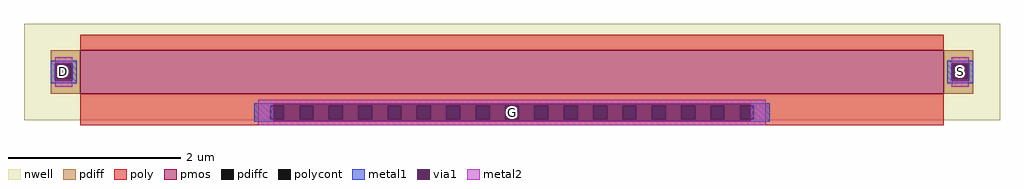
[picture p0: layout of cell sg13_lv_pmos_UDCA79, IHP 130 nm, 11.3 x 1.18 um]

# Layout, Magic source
magic
tech ihp-sg13g2
magscale 1 2
<< nwell >>
rect -1130 -93 1130 131
<< pmos >>
rect -1000 -31 1000 69
<< pdiff >>
rect -1068 35 -1000 69
rect -1068 3 -1054 35
rect -1022 3 -1000 35
rect -1068 -31 -1000 3
rect 1000 35 1068 69
rect 1000 3 1022 35
rect 1054 3 1068 35
rect 1000 -31 1068 3
<< pdiffc >>
rect -1054 3 -1022 35
rect 1022 3 1054 35
<< poly >>
rect -1000 69 1000 105
rect -1000 -59 1000 -31
rect -1000 -91 -560 -59
rect -528 -91 -492 -59
rect -460 -91 -424 -59
rect -392 -91 -356 -59
rect -324 -91 -288 -59
rect -256 -91 -220 -59
rect -188 -91 -152 -59
rect -120 -91 -84 -59
rect -52 -91 -16 -59
rect 16 -91 52 -59
rect 84 -91 120 -59
rect 152 -91 188 -59
rect 220 -91 256 -59
rect 288 -91 324 -59
rect 356 -91 392 -59
rect 424 -91 460 -59
rect 492 -91 528 -59
rect 560 -91 1000 -59
rect -1000 -105 1000 -91
<< polycont >>
rect -560 -91 -528 -59
rect -492 -91 -460 -59
rect -424 -91 -392 -59
rect -356 -91 -324 -59
rect -288 -91 -256 -59
rect -220 -91 -188 -59
rect -152 -91 -120 -59
rect -84 -91 -52 -59
rect -16 -91 16 -59
rect 52 -91 84 -59
rect 120 -91 152 -59
rect 188 -91 220 -59
rect 256 -91 288 -59
rect 324 -91 356 -59
rect 392 -91 424 -59
rect 460 -91 492 -59
rect 528 -91 560 -59
<< metal1 >>
rect -1068 39 -1008 45
rect -1068 -1 -1058 39
rect -1018 -1 -1008 39
rect -1068 -7 -1008 -1
rect 1008 39 1068 45
rect 1008 -1 1018 39
rect 1058 -1 1068 39
rect 1008 -7 1068 -1
rect -597 -55 597 -54
rect -597 -59 -553 -55
rect 553 -59 597 -55
rect -597 -91 -560 -59
rect 560 -91 597 -59
rect -597 -95 -553 -91
rect 553 -95 597 -91
rect -597 -96 597 -95
<< via1 >>
rect -1058 35 -1018 39
rect -1058 3 -1054 35
rect -1054 3 -1022 35
rect -1022 3 -1018 35
rect -1058 -1 -1018 3
rect 1018 35 1058 39
rect 1018 3 1022 35
rect 1022 3 1054 35
rect 1054 3 1058 35
rect 1018 -1 1058 3
rect -553 -59 553 -55
rect -553 -91 -528 -59
rect -528 -91 -492 -59
rect -492 -91 -460 -59
rect -460 -91 -424 -59
rect -424 -91 -392 -59
rect -392 -91 -356 -59
rect -356 -91 -324 -59
rect -324 -91 -288 -59
rect -288 -91 -256 -59
rect -256 -91 -220 -59
rect -220 -91 -188 -59
rect -188 -91 -152 -59
rect -152 -91 -120 -59
rect -120 -91 -84 -59
rect -84 -91 -52 -59
rect -52 -91 -16 -59
rect -16 -91 16 -59
rect 16 -91 52 -59
rect 52 -91 84 -59
rect 84 -91 120 -59
rect 120 -91 152 -59
rect 152 -91 188 -59
rect 188 -91 220 -59
rect 220 -91 256 -59
rect 256 -91 288 -59
rect 288 -91 324 -59
rect 324 -91 356 -59
rect 356 -91 392 -59
rect 392 -91 424 -59
rect 424 -91 460 -59
rect 460 -91 492 -59
rect 492 -91 528 -59
rect 528 -91 553 -59
rect -553 -95 553 -91
<< metal2 >>
rect -1058 39 -1018 53
rect -1058 -15 -1018 -1
rect 1018 39 1058 53
rect 1018 -15 1058 -1
rect -587 -55 587 -46
rect -587 -95 -553 -55
rect 553 -95 587 -55
rect -587 -104 587 -95
<< labels >>
rlabel metal1 s -1038 19 -1038 19 4 D
rlabel metal1 s 1038 19 1038 19 4 S
rlabel metal1 s 0 -75 0 -75 4 G
<< end >>
